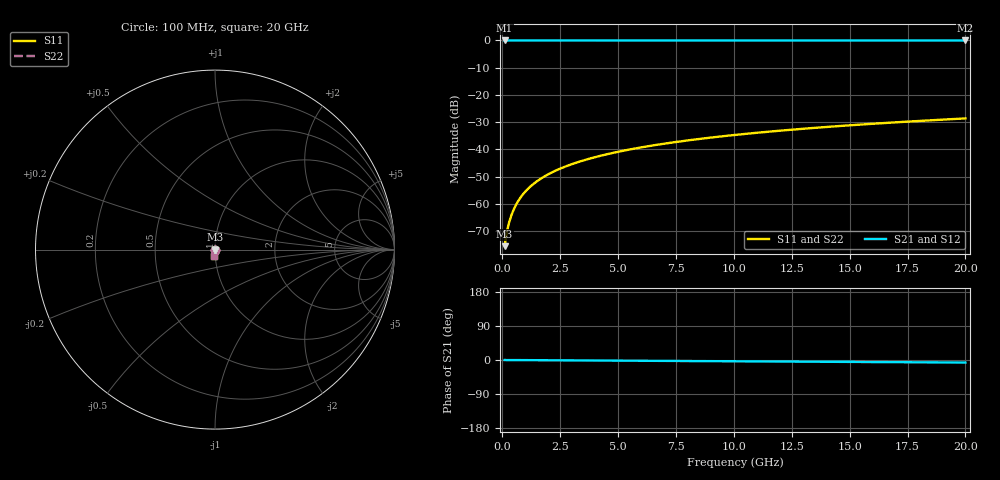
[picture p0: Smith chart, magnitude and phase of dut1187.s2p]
! Touchstone file exported from HFSS 2026.1.0
!  File:  C:/ffzhzh/LocalFiles/Ansys_Project_Files/temp_train_TSV_1187_1783192336_43440.aedt
!  Generated:  03:13:46 AM Jul  5, 2026
!  Design:  TSV
!  Project:  temp_train_TSV_1187_1783192336_43440
! Variables:
!  h_bsmrdl = 2um
!  h_ox = 20um
!  h_rdl = 5um
!  h_sub = 64.55um
!  h_tmrdl = 5um
!  h_tsv = 64.55um
!  h_via = 3um
!  l_bsmrdl = 300um
!  l_sub = 425.9um
!  l_tmrdl = 200um
!  m_sub = 200um
!  pitch = 38.95um
!  r_tsv = 12.95um
!  s_tmrdl = 10um
!  w_bsmrdl = 18um
!  w_sub = 500um
!  w_tmrdl = 12um
!  x_tsv_center1 = 206um
!  x_tsv_center2 = 524um
!  x_tsv_center3 = 736um
!  x_tsv_center4 = 1054um
!  x_tsv_center5 = 1266um
!  x_tsv_center6 = 1584um
# GHz S MA R 50.000000
! Terminal data exported
! Port[1] = TSV1_1_T1
! Port[2] = TSV1_1_T2
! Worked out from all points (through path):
!   200 points, 100 MHz to 20 GHz, reference 50 ohm
!   highest |S21| = 0.00 dB at 100 MHz (marker M1); lowest = 0.0 dB at 20 GHz (marker M2)
!   lowest |S11| = -75.5 dB at 100 MHz (marker M3), VSWR 1.00, Z = 50 - j0.0147 ohm
!   |S11| at or under -10 dB: start of sweep to end of sweep
!   |S22| runs from -75.5 to -28.6 dB; largest |S21 - S12| = 3.3e-15
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0.1  0.0001674 -61.6  0.9999 -0.0  0.9999 -0.0  0.0001674 -61.6
! Gamma 0 0 0 0
! Port Impedance 50 0 50 0
0.2  0.0003117 -72.9  0.9999 -0.1  0.9999 -0.1  0.0003117 -72.9
0.3  0.000467 -76.5  0.9999 -0.1  0.9999 -0.1  0.000467 -76.5
0.4  0.00063 -78.1  0.9999 -0.1  0.9999 -0.1  0.00063 -78.1
0.5  0.0007993 -79.2  0.9998 -0.2  0.9998 -0.2  0.0007993 -79.2
0.7  0.001151 -80.6  0.9998 -0.2  0.9998 -0.2  0.001151 -80.6
0.8  0.00133 -81.2  0.9998 -0.3  0.9998 -0.3  0.00133 -81.2
1  0.001694 -82.2  0.9998 -0.3  0.9998 -0.3  0.001694 -82.2
1.2  0.002059 -83.1  0.9997 -0.4  0.9997 -0.4  0.002059 -83.1
1.4  0.002426 -83.8  0.9997 -0.5  0.9997 -0.5  0.002426 -83.8
1.7  0.002975 -84.7  0.9997 -0.6  0.9997 -0.6  0.002975 -84.7
2  0.003524 -85.4  0.9997 -0.7  0.9997 -0.7  0.003524 -85.4
2.7  0.004805 -86.6  0.9996 -0.9  0.9996 -0.9  0.004805 -86.6
3.5  0.006272 -87.4  0.9996 -1.2  0.9996 -1.2  0.006272 -87.4
4.2  0.007561 -88.0  0.9995 -1.4  0.9995 -1.4  0.007561 -88.0
5  0.009039 -88.6  0.9995 -1.7  0.9995 -1.7  0.009039 -88.6
6.8  0.01238 -89.6  0.9993 -2.3  0.9993 -2.3  0.01238 -89.6
8.3  0.01518 -90.4  0.9992 -2.8  0.9992 -2.8  0.01518 -90.4
10.1  0.01854 -91.2  0.9991 -3.4  0.9991 -3.4  0.01854 -91.2
13.4  0.02471 -92.6  0.9989 -4.5  0.9989 -4.5  0.02471 -92.6
16.7  0.03088 -93.9  0.9986 -5.6  0.9986 -5.6  0.03088 -93.9
20  0.03705 -95.2  0.9983 -6.7  0.9983 -6.7  0.03705 -95.2
